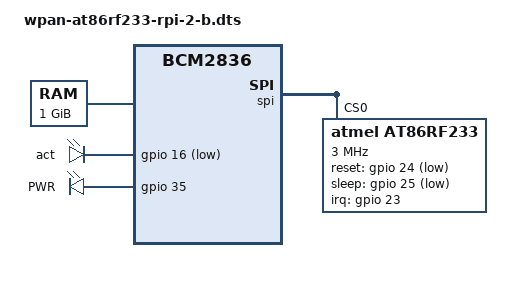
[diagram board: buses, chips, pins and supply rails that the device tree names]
/dts-v1/;
#include "bcm2836.dtsi"
#include "bcm2835-rpi.dtsi"

/ {
	compatible = "raspberrypi,2-model-b", "brcm,bcm2836";

	memory {
		reg = <0 0x40000000>;
	};

	leds {
		act {
			gpios = <&gpio 16 1>;
		};

		pwr {
			label = "PWR";
			gpios = <&gpio 35 0>;
			default-state = "keep";
			linux,default-trigger = "default-on";
		};
	};
};

&gpio {
	pinctrl-0 = <&gpioout &alt0 &i2s_alt0 &alt3>;

	/* I2S interface */
	i2s_alt0: i2s_alt0 {
		brcm,pins = <18 19 20 21>;
		brcm,function = <BCM2835_FSEL_ALT0>;
	};
};

&spi {
	status = "okay";
	at86rf233@0 {
		compatible = "atmel,at86rf233";
		spi-max-frequency = <3000000>;
		reg = <0>;
		interrupts = <23 4>;
		interrupt-parent = <&gpio>;
		reset-gpio = <&gpio 24 1>;
		sleep-gpio = <&gpio 25 1>;
		xtal-trim = /bits/ 8 <0x0F>;
	};
};
